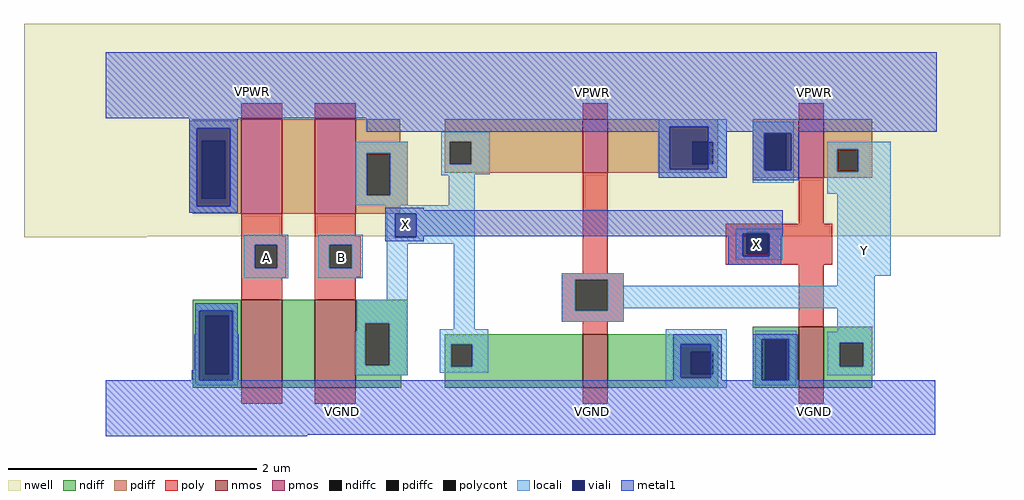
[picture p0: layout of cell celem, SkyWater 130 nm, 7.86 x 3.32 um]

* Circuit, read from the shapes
.subckt celem VGND VPWR Y A B
XM1 n1 A VGND VSUBS sky130_fd_pr__nfet_01v8 w=0.71 l=0.33
XM2 X B n1 VSUBS sky130_fd_pr__nfet_01v8 w=0.71 l=0.33
XM3 VGND Y X VSUBS sky130_fd_pr__nfet_01v8 w=0.43 l=0.2
XM4 Y X VGND VSUBS sky130_fd_pr__nfet_01v8 w=0.49 l=0.2
XM5 n2 A VPWR n3 sky130_fd_pr__pfet_01v8 w=0.76 l=0.33
XM6 X B n2 n3 sky130_fd_pr__pfet_01v8 w=0.76 l=0.33
XM7 VPWR Y X n3 sky130_fd_pr__pfet_01v8 w=0.43 l=0.2
XM8 Y X VPWR n3 sky130_fd_pr__pfet_01v8 w=0.47 l=0.2
.ends

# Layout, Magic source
magic
tech sky130A
<< nwell >>
rect -66 149 720 320
rect -66 148 33 149
<< nmos >>
rect 109 27 142 98
rect 168 27 201 98
rect 384 27 404 70
rect 558 27 578 76
<< pmos >>
rect 109 167 142 243
rect 168 167 201 243
rect 384 200 404 243
rect 558 196 578 243
<< ndiff >>
rect 70 85 109 98
rect 70 38 80 85
rect 99 38 109 85
rect 70 27 109 38
rect 142 27 168 98
rect 201 79 243 98
rect 201 45 209 79
rect 228 45 243 79
rect 201 37 243 45
rect 273 62 384 70
rect 273 44 278 62
rect 295 44 384 62
rect 201 27 238 37
rect 273 27 384 44
rect 404 56 493 70
rect 404 38 471 56
rect 489 38 493 56
rect 404 27 493 38
rect 521 66 558 76
rect 521 33 531 66
rect 548 33 558 66
rect 521 27 558 33
rect 578 63 617 76
rect 578 44 591 63
rect 610 44 617 63
rect 578 27 617 44
<< pdiff >>
rect 70 242 109 243
rect 67 226 109 242
rect 67 179 77 226
rect 96 179 109 226
rect 67 168 109 179
rect 70 167 109 168
rect 142 167 168 243
rect 201 225 237 243
rect 273 225 384 243
rect 201 216 243 225
rect 201 182 210 216
rect 229 182 243 216
rect 273 207 277 225
rect 294 207 384 225
rect 273 200 384 207
rect 404 225 493 243
rect 404 207 472 225
rect 489 207 493 225
rect 404 200 493 207
rect 521 232 558 243
rect 521 202 531 232
rect 548 202 558 232
rect 201 174 243 182
rect 201 167 237 174
rect 521 196 558 202
rect 578 219 617 243
rect 578 201 589 219
rect 606 201 617 219
rect 578 196 617 201
<< ndiffc >>
rect 80 38 99 85
rect 209 45 228 79
rect 278 44 295 62
rect 471 38 489 56
rect 531 33 548 66
rect 591 44 610 63
<< pdiffc >>
rect 77 179 96 226
rect 210 182 229 216
rect 277 207 294 225
rect 472 207 489 225
rect 531 202 548 232
rect 589 201 606 219
<< poly >>
rect 109 243 142 256
rect 168 243 201 256
rect 384 243 404 256
rect 558 243 578 256
rect 109 149 142 167
rect 168 149 201 167
rect 109 142 145 149
rect 109 123 120 142
rect 138 123 145 142
rect 109 116 145 123
rect 168 142 205 149
rect 168 123 180 142
rect 198 123 205 142
rect 168 116 205 123
rect 384 119 404 200
rect 558 159 578 196
rect 499 152 585 159
rect 499 135 516 152
rect 533 135 585 152
rect 499 126 585 135
rect 109 98 142 116
rect 168 98 201 116
rect 367 114 417 119
rect 367 89 378 114
rect 404 89 417 114
rect 367 80 417 89
rect 384 70 404 80
rect 558 76 578 126
rect 109 14 142 27
rect 168 14 201 27
rect 384 14 404 27
rect 558 14 578 27
<< polycont >>
rect 120 123 138 142
rect 180 123 198 142
rect 516 135 533 152
rect 378 89 404 114
<< locali >>
rect 67 236 106 242
rect 67 173 73 236
rect 100 173 106 236
rect 445 237 500 243
rect 270 225 309 233
rect 201 216 243 225
rect 201 182 210 216
rect 229 182 243 216
rect 270 207 277 225
rect 294 207 309 225
rect 270 199 309 207
rect 445 203 454 237
rect 485 225 500 237
rect 489 207 500 225
rect 485 203 500 207
rect 270 198 297 199
rect 201 174 243 182
rect 276 174 297 198
rect 445 196 500 203
rect 521 232 554 241
rect 521 202 530 232
rect 552 202 554 232
rect 521 192 554 202
rect 581 219 632 225
rect 581 201 589 219
rect 606 201 632 219
rect 581 183 632 201
rect 67 168 106 173
rect 225 167 297 174
rect 111 142 147 150
rect 111 123 120 142
rect 138 123 147 142
rect 111 115 147 123
rect 171 142 207 150
rect 171 123 180 142
rect 198 123 207 142
rect 171 115 207 123
rect 226 148 233 167
rect 250 148 297 167
rect 226 143 297 148
rect 226 98 243 143
rect 72 89 106 95
rect 72 33 75 89
rect 102 33 106 89
rect 202 79 243 98
rect 202 72 209 79
rect 201 45 209 72
rect 228 45 243 79
rect 280 74 297 143
rect 507 152 545 155
rect 507 151 516 152
rect 533 151 545 152
rect 507 133 513 151
rect 534 133 545 151
rect 507 130 545 133
rect 367 114 417 119
rect 367 89 378 114
rect 404 109 417 114
rect 589 117 632 183
rect 589 109 619 117
rect 404 91 619 109
rect 404 89 417 91
rect 367 80 417 89
rect 201 37 243 45
rect 269 62 308 74
rect 269 44 278 62
rect 295 44 308 62
rect 269 39 308 44
rect 451 62 500 74
rect 72 30 106 33
rect 73 29 106 30
rect 451 35 463 62
rect 487 56 500 62
rect 489 38 500 56
rect 487 35 500 38
rect 451 27 500 35
rect 523 66 556 73
rect 589 72 619 91
rect 523 33 528 66
rect 550 33 556 66
rect 581 63 619 72
rect 581 44 591 63
rect 610 44 619 63
rect 581 37 619 44
rect 523 29 556 33
<< viali >>
rect 73 226 100 236
rect 73 179 77 226
rect 77 179 96 226
rect 96 179 100 226
rect 73 173 100 179
rect 454 225 485 237
rect 454 207 472 225
rect 472 207 485 225
rect 454 203 485 207
rect 530 202 531 232
rect 531 202 548 232
rect 548 202 552 232
rect 233 148 250 167
rect 75 85 102 89
rect 75 38 80 85
rect 80 38 99 85
rect 99 38 102 85
rect 75 33 102 38
rect 513 135 516 151
rect 516 135 533 151
rect 533 135 534 151
rect 513 133 534 135
rect 463 56 487 62
rect 463 38 471 56
rect 471 38 487 56
rect 463 35 487 38
rect 528 33 531 66
rect 531 33 548 66
rect 548 33 550 66
<< metal1 >>
rect 0 244 669 297
rect 67 236 106 244
rect 67 173 73 236
rect 100 173 106 236
rect 210 237 669 244
rect 210 233 454 237
rect 445 203 454 233
rect 485 233 669 237
rect 485 203 500 233
rect 445 196 500 203
rect 521 232 558 233
rect 521 202 530 232
rect 552 202 558 232
rect 521 194 558 202
rect 67 168 106 173
rect 225 170 256 172
rect 225 167 545 170
rect 225 148 233 167
rect 250 151 545 167
rect 250 149 513 151
rect 250 148 256 149
rect 225 145 256 148
rect 501 133 513 149
rect 534 149 545 151
rect 534 133 544 149
rect 501 126 544 133
rect 72 89 106 95
rect 72 70 75 89
rect 71 41 75 70
rect 69 33 75 41
rect 102 70 106 89
rect 102 33 107 70
rect 457 62 496 70
rect 457 35 463 62
rect 487 35 496 62
rect 457 33 496 35
rect 521 66 557 70
rect 521 33 528 66
rect 550 33 557 66
rect 0 -11 668 33
rect 0 -12 162 -11
<< labels >>
flabel metal1 483 -11 658 27 0 FreeSans 120 0 0 0 VGND
port 1 nsew ground bidirectional
flabel metal1 103 -11 278 27 0 FreeSans 120 0 0 0 VGND
port 1 nsew ground bidirectional
flabel metal1 304 -11 479 27 0 FreeSans 120 180 0 0 VGND
port 1 nsew ground bidirectional
flabel viali 513 133 534 151 0 FreeSans 120 0 0 0 X
flabel metal1 304 243 479 287 0 FreeSans 120 180 0 0 VPWR
port 2 nsew power bidirectional
flabel locali 233 149 250 168 0 FreeSans 120 0 0 0 X
flabel locali 174 117 206 147 0 FreeSans 120 0 0 0 B
port 5 nsew signal input
flabel locali 113 117 145 147 0 FreeSans 120 0 0 0 A
port 4 nsew signal input
flabel metal1 103 244 133 287 0 FreeSans 120 0 0 0 VPWR
port 2 nsew power bidirectional
flabel metal1 483 243 658 287 0 FreeSans 120 0 0 0 VPWR
port 2 nsew power bidirectional
flabel locali 595 123 626 152 0 FreeSans 120 0 0 0 Y
port 3 nsew signal output
<< properties >>
string FIXED_BBOX 0 0 670 272
string LEFclass CORE
string LEFsite unithd
string LEFsource USER
<< end >>
